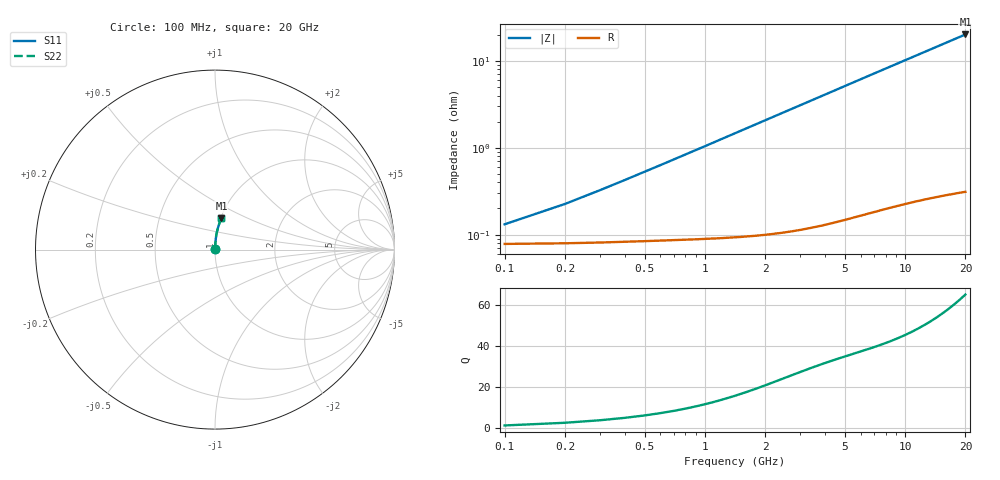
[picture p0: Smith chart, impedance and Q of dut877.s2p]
! Touchstone file exported from HFSS 2024.1.0
!  File:  C:/UserFiles/LocalFiles/RDL_TSV_Batchsim/temp_RDL_top_877_1779856683.aedt
!  Generated:  12:40:28 PM May 27, 2026
!  Design:  RDL_top
!  Project:  temp_RDL_top_877_1779856683
!  Setup:  Setup1
!  Solution:  Sweep
! Variables:
!  dtsv = 10.80580581um
!  hbump = 3um
!  htsv = 71.97um
!  ldown = 100um
!  lrdl = 107.41um
!  p = 40
!  p1 = 58.94um
!  rhole = 1um
!  t = 450um
!  tdown = 3.915915916um
!  trdl = 4.96um
!  wdown = 15.38538539um
!  wrdl = 11.49um
# GHz S MA R 50.000000
! Terminal data exported
! Port[1] = Box2_T1
! Port[2] = Box2_T2
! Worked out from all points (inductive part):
!   200 points, 100 MHz to 20 GHz, reference 50 ohm
!   read as one part in series: L = 167 pH near 300 MHz
!   highest Q = 64.9 at 20 GHz (marker M1), where L = 161 pH
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0.1  0.001197 49.3  0.9992 -0.1  0.9992 -0.1  0.001197 49.3
! Gamma 0 0 0 0
! Port Impedance 50 0 50 0
0.2  0.001975 66.2  0.9992 -0.1  0.9992 -0.1  0.001975 66.2
0.3  0.002821 73.2  0.9992 -0.2  0.9992 -0.2  0.002821 73.2
0.4  0.003684 76.9  0.9992 -0.3  0.9992 -0.3  0.003684 76.9
0.5  0.004553 79.2  0.9991 -0.3  0.9991 -0.3  0.004553 79.2
0.7  0.0063 82.0  0.9991 -0.5  0.9991 -0.5  0.0063 82.0
0.8  0.007177 82.8  0.9991 -0.5  0.9991 -0.5  0.007177 82.8
1  0.008935 84.0  0.999 -0.7  0.999 -0.7  0.008935 84.0
1.2  0.0107 84.8  0.9989 -0.8  0.9989 -0.8  0.0107 84.8
1.4  0.01246 85.4  0.9989 -0.9  0.9989 -0.9  0.01246 85.4
1.7  0.01511 85.9  0.9987 -1.2  0.9987 -1.2  0.01511 85.9
2  0.01776 86.2  0.9986 -1.4  0.9986 -1.4  0.01776 86.2
2.7  0.02396 86.6  0.9982 -1.8  0.9982 -1.8  0.02396 86.6
3.5  0.03105 86.7  0.9976 -2.4  0.9976 -2.4  0.03105 86.7
4.2  0.03727 86.6  0.997 -2.8  0.997 -2.8  0.03727 86.6
5  0.04439 86.5  0.9962 -3.3  0.9962 -3.3  0.04439 86.5
6.8  0.06048 85.8  0.9942 -4.5  0.9942 -4.5  0.06048 85.8
8.3  0.07394 85.2  0.9924 -5.4  0.9924 -5.4  0.07394 85.2
10.1  0.09015 84.3  0.99 -6.6  0.99 -6.6  0.09015 84.3
13.4  0.1199 82.5  0.9852 -8.6  0.9852 -8.6  0.1199 82.5
16.7  0.1493 80.5  0.9799 -10.6  0.9799 -10.6  0.1493 80.5
20  0.1784 78.5  0.9741 -12.6  0.9741 -12.6  0.1784 78.5
